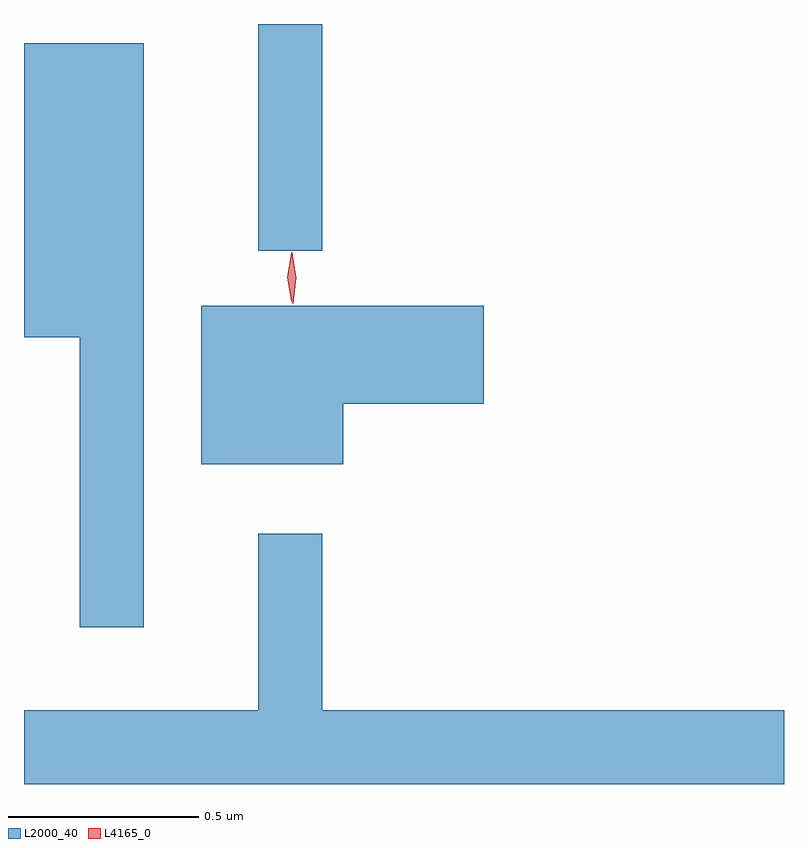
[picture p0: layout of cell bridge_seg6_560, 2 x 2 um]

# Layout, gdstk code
import gdstk
lib = gdstk.Library(unit=1e-6, precision=1e-09)
def R(c, l, rs):  # rectangles x0, y0, x1, y1
    for r in rs: c.add(gdstk.rectangle(r[:2], r[2:], *l))
def P(c, l, *ps):  # polygons
    for p in ps: c.add(gdstk.Polygon(p, *l))
L2000_40 = (2000, 40)
L4165_0 = (4165, 0)

bridge_seg6_560 = lib.new_cell('bridge_seg6_560')
R(bridge_seg6_560, L2000_40, [(513.861,1642.533,514.029,1643.13)])
P(bridge_seg6_560, L2000_40, [(513.559,1643.079),(513.244,1643.079),(513.244,1642.306),(513.391,1642.306),(513.391,1641.543),(513.559,1641.543)],
  [(514.084,1642.131),(514.454,1642.131),(514.454,1642.389),(513.711,1642.389),(513.711,1641.971),(514.084,1641.971)],
  [(513.861,1641.788),(513.861,1641.324),(513.244,1641.324),(513.244,1641.13),(515.244,1641.13),(515.244,1641.324),(514.029,1641.324),(514.029,1641.788)])
P(bridge_seg6_560, L4165_0, [(513.951,1642.394),(513.951,1642.394),(513.94,1642.462),(513.949,1642.53),(513.95,1642.53),(513.95,1642.53),(513.96,1642.462),(513.952,1642.394)],
  [(513.947,1642.4),(513.947,1642.4),(513.937,1642.463),(513.947,1642.526),(513.947,1642.527),(513.948,1642.526),(513.957,1642.463),(513.948,1642.4)])

lib.write_gds('bridge_seg6_560.gds')
